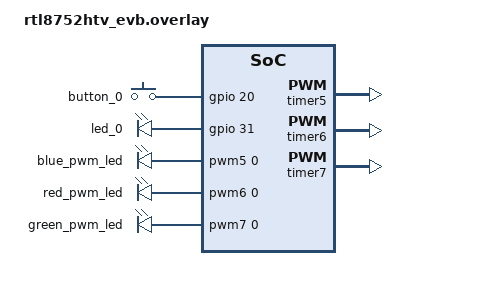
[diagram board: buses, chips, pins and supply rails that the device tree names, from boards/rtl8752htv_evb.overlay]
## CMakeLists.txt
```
# SPDX-License-Identifier: Apache-2.0

cmake_minimum_required(VERSION 3.20.0)
set(QEMU_EXTRA_FLAGS -s)

find_package(Zephyr REQUIRED HINTS $ENV{ZEPHYR_BASE})
project(mesh)

target_sources(app PRIVATE src/main.c)

if (BOARD STREQUAL bbc_microbit)
  target_sources(app PRIVATE src/microbit.c)
else()
  target_sources(app PRIVATE src/board.c)
endif()

if (CONFIG_BUILD_WITH_TFM)
  target_include_directories(app PRIVATE
    $<TARGET_PROPERTY:tfm,TFM_BINARY_DIR>/install/interface/include
  )
endif()

zephyr_code_relocate(FILES ${WEST_TOPDIR}/modules/hal/realtek/bee/drivers/pinmux/src/rtl8752h/rtl876x_pinmux.c LOCATION RAM)
```

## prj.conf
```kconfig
CONFIG_SYSTEM_WORKQUEUE_STACK_SIZE=2048

CONFIG_BT_SETTINGS=y
CONFIG_FLASH=y
CONFIG_FLASH_MAP=y
CONFIG_NVS=y
CONFIG_SETTINGS=y
CONFIG_HWINFO=y

CONFIG_BT=y
CONFIG_BT_L2CAP_TX_BUF_COUNT=5
CONFIG_BT_PERIPHERAL=y
CONFIG_BT_OBSERVER=y
CONFIG_BT_BROADCASTER=y

CONFIG_BT_CTLR_DUP_FILTER_LEN=0
CONFIG_BT_CTLR_LE_ENC=n
CONFIG_BT_CTLR_LE_PING=n
CONFIG_BT_DATA_LEN_UPDATE=n
CONFIG_BT_PHY_UPDATE=n
CONFIG_BT_CTLR_MIN_USED_CHAN=n
CONFIG_BT_CTLR_PRIVACY=n
CONFIG_BT_CTLR_CHAN_SEL_2=n

CONFIG_BT_MESH=y
CONFIG_BT_MESH_MODEL_EXTENSIONS=y
CONFIG_BT_MESH_RELAY=y
CONFIG_BT_MESH_FRIEND=y
CONFIG_BT_MESH_PB_GATT=y
CONFIG_BT_MESH_PB_ADV=y
CONFIG_BT_MESH_GATT_PROXY=y

CONFIG_BT_MESH_SUBNET_COUNT=2
CONFIG_BT_MESH_APP_KEY_COUNT=2
CONFIG_BT_MESH_MODEL_GROUP_COUNT=2
CONFIG_BT_MESH_LABEL_COUNT=3


#2024-10-26

CONFIG_DEBUG_OPTIMIZATIONS=n

CONFIG_LOG=y

# #CONFIG_NEWLIB_LIBC=y


CONFIG_SHELL=y
CONFIG_BT_MESH_SHELL=y
# CONFIG_SHELL_HISTORY=n
CONFIG_SHELL_CMDS_SELECT=n
CONFIG_SHELL_HELP=n
CONFIG_SHELL_TAB_AUTOCOMPLETION=n
CONFIG_SHELL_STACK_SIZE=1500
CONFIG_SHELL_CMD_BUFF_SIZE=32

CONFIG_BT_EXT_ADV=n

CONFIG_BT_BUF_EVT_DISCARDABLE_SIZE=255
CONFIG_BT_BUF_EVT_DISCARDABLE_COUNT=5


CONFIG_BT_MESH_CDB=y

CONFIG_BT_MESH_CRPL=30
CONFIG_BT_MESH_MSG_CACHE_SIZE=30

CONFIG_NVS_LOOKUP_CACHE=y
CONFIG_SETTINGS_NVS_NAME_CACHE=y
CONFIG_SETTINGS_NVS_NAME_CACHE_SIZE=32

# CONFIG_BT_MESH_NETWORK_TRANSMIT_INTERVAL=10
# CONFIG_BT_MESH_NETWORK_TRANSMIT_COUNT=0


CONFIG_BT_MESH_ADV_STACK_SIZE=2500
CONFIG_BT_MESH_SETTINGS_WORKQ_STACK_SIZE=1500
CONFIG_BT_RX_STACK_SIZE=3000



CONFIG_MAIN_STACK_SIZE=1500


CONFIG_BT_MESH_GATT_PROXY_ENABLED=y

CONFIG_BT_MESH_PROV_LOG_LEVEL_DBG=y

# CONFIG_BT_MESH_PROXY_LOG_LEVEL_DBG=y

CONFIG_BT_MESH_TRANS_LOG_LEVEL_DBG=y

CONFIG_LOG_BUFFER_SIZE=1024

CONFIG_SYS_HEAP_RUNTIME_STATS=y


CONFIG_BT_DEVICE_NAME="RTK bee3plus Mesh Light"

CONFIG_BT_MESH_UNPROV_BEACON_INT=10

CONFIG_RTL_BT_ADV_AND_SCAN_USER_PUBLIC_ADDR=1

CONFIG_REALTEK_BT_CONTROLLER_STACK_SIZE=2520

CONFIG_CODE_DATA_RELOCATION=y

CONFIG_SPEED_OPTIMIZATIONS=y

# CONFIG_COMPILER_OPT="-Os"

CONFIG_FLASH_SHELL=n

# CONFIG_BT_HCI_CORE_LOG_LEVEL_DBG=y


# CONFIG_TRACING=y
# CONFIG_TRACING_USER=y



# CONFIG_STDOUT_CONSOLE=y
# enable to use thread names
CONFIG_THREAD_NAME=y
CONFIG_SEGGER_SYSTEMVIEW=y
CONFIG_USE_SEGGER_RTT=y
CONFIG_TRACING=y
CONFIG_TRACING_BACKEND_RAM=y
# enable for post-mortem tracing
CONFIG_SEGGER_SYSVIEW_POST_MORTEM_MODE=n
CONFIG_TRACING_BUFFER_SIZE=4096
```

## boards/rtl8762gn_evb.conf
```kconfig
CONFIG_GPIO=y
CONFIG_PWM=y
CONFIG_LED=y
```

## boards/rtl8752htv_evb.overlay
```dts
/ {

    aliases {
        sw0 = &button_0;
        led0 = &led_0;
		pwm-led = &pwmleds;
    };

    gpio_keys {
		compatible = "gpio-keys";
		button_0: button_0 {
			    gpios = <&gpio 20 GPIO_ACTIVE_HIGH>;
		};
	};

    gpio-led {
		compatible = "gpio-leds";
		led_0: led_0 {
			gpios = <&gpio 31 GPIO_ACTIVE_HIGH>;
		};
	};
	
	

};

&gpio{
    status = "okay";
};


&timer5 {
	status = "okay";
	prescaler = <1>;
	pwm5: pwm5 {
		status = "okay";
		pinctrl-0 = <&pwm5_default>;
		pinctrl-names = "default";
	};
};
&timer6{
	status = "okay";
	prescaler = <1>;
	pwm6: pwm6{
		status = "okay";
		pinctrl-0 = <&pwm6_default>;
		pinctrl-names = "default";
	};
};
&timer7 {
	status = "okay";
	prescaler = <1>;
	pwm7: pwm7 {
		status = "okay";
		pinctrl-0 = <&pwm7_default>;
		pinctrl-names = "default";
	};
};

&pinctrl {
	pwm5_default: pwm5_default {
		group1 {
			psels = <RTL8752H_PSEL(ENPWM0_P, P4_0,DIR_OUT, DRV_LOW, PULL_DOWN)>;
		};
	};
	pwm6_default: pwm6_default {
		group1 {
			psels = <RTL8752H_PSEL(ENPWM0_N, P4_1,DIR_OUT, DRV_LOW, PULL_DOWN)>;
		};
	};
	pwm7_default: pwm7_default {
		group1 {
			psels = <RTL8752H_PSEL(ENPWM1, P4_2,DIR_OUT, DRV_LOW, PULL_DOWN)>;
		};
	};
};
 
/ {
    pwmleds: pwmleds {
        compatible = "pwm-leds";
	   blue_pwm_led: blue_pwm_led {
            pwms = <&pwm5 0 PWM_MSEC(5) 0>;
	    };
	    red_pwm_led: red_pwm_led {
		    pwms = <&pwm6 0 PWM_MSEC(5) 0>;
	    };
	    green_pwm_led: green_pwm_led {
		    pwms = <&pwm7 0 PWM_MSEC(5) 0>;
	    };
	
    };

};
```

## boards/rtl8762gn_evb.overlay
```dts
/ {

    aliases {
        sw0 = &button_0;
        led0 = &led_0;
		pwm-led = &pwmleds;
    };

    gpio_keys {
		compatible = "gpio-keys";
		button_0: button_0 {
			    gpios = <&gpioa 25 GPIO_ACTIVE_HIGH>;
		};
	};

    gpio-led {
		compatible = "gpio-leds";
		led_0: led_0 {
			gpios = <&gpiob 8 GPIO_ACTIVE_HIGH>;
		};
	};
	// pwmleds {
	// 	compatible = "pwm-leds";

	// 	/* NOTE: bridge TIMER0_CH0 (PA8) and LED1 (PC0) */
	// 	pwm_led: pwm_led {
	// 		pwms = <&pwm8 0 0>;

	// 		};
	// };
	

};

&gpioa {
    status = "okay";
};


&gpiob {
    status = "okay";
};

// &timer8 {
// 	status = "okay";
// 	prescaler = <1>;
// 	pwm8: pwm {
// 			status = "okay";
// 			pinctrl-0 = <&pwm8_default>;
// 			pinctrl-names = "default";
// 	};
//  };

// &pinctrl {
// 	pwm8_default: pwm8_default {
// 			group1 {
// 					psels = <RTL87X2G_PSEL(ENPWM0_P, P4_0,DIR_OUT, DRV_LOW, PULL_DOWN)>;
// 			};
//     };
// };

&timer8 {
	status = "okay";
	prescaler = <1>;
	pwm8: pwm8 {
		status = "okay";
		pinctrl-0 = <&pwm8_default>;
		pinctrl-names = "default";
	};
};
&timer9 {
	status = "okay";
	prescaler = <1>;
	pwm9: pwm9{
		status = "okay";
		pinctrl-0 = <&pwm9_default>;
		pinctrl-names = "default";
	};
};
&timer10 {
	status = "okay";
	prescaler = <1>;
	pwm10: pwm10 {
		status = "okay";
		pinctrl-0 = <&pwm10_default>;
		pinctrl-names = "default";
	};
};

&pinctrl {
	pwm8_default: pwm8_default {
		group1 {
			psels = <RTL87X2G_PSEL(ENPWM0_P, P4_0,DIR_OUT, DRV_LOW, PULL_DOWN)>;
		};
	};
	pwm9_default: pwm9_default {
		group1 {
			psels = <RTL87X2G_PSEL(ENPWM1_P, P4_1,DIR_OUT, DRV_LOW, PULL_DOWN)>;
		};
	};
	pwm10_default: pwm10_default {
		group1 {
			psels = <RTL87X2G_PSEL(ENPWM2_P, P4_2,DIR_OUT, DRV_LOW, PULL_DOWN)>;
		};
	};
};
 
/ {
    pwmleds: pwmleds {
        compatible = "pwm-leds";
	   blue_pwm_led: blue_pwm_led {
            pwms = <&pwm8 0 PWM_MSEC(5) 0>;
	    };
	    red_pwm_led: red_pwm_led {
		    pwms = <&pwm9 0 PWM_MSEC(5) 0>;
	    };
	    green_pwm_led: green_pwm_led {
		    pwms = <&pwm10 0 PWM_MSEC(5) 0>;
	    };
	
    };

};
```

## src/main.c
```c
/* main.c - Application main entry point */

/*
 * Copyright (c) 2017 Intel Corporation
 *
 * SPDX-License-Identifier: Apache-2.0
 */

#include <zephyr/sys/printk.h>

#include <zephyr/settings/settings.h>
#include <zephyr/devicetree.h>
#include <zephyr/device.h>
#include <zephyr/drivers/gpio.h>
#include <zephyr/drivers/hwinfo.h>
#include <zephyr/sys/byteorder.h>

#include <zephyr/bluetooth/bluetooth.h>
#include <zephyr/bluetooth/mesh.h>

#include "board.h"

#include "zephyr/kernel.h"
extern bool os_mem_peek_zephyr(uint8_t ram_type, size_t *p_size);

#include <zephyr\sys\sys_heap.h>
extern struct sys_heap z_malloc_heap;
void log_isr_stack_usage(void);


#define OP_ONOFF_GET       BT_MESH_MODEL_OP_2(0x82, 0x01)
#define OP_ONOFF_SET       BT_MESH_MODEL_OP_2(0x82, 0x02)
#define OP_ONOFF_SET_UNACK BT_MESH_MODEL_OP_2(0x82, 0x03)
#define OP_ONOFF_STATUS    BT_MESH_MODEL_OP_2(0x82, 0x04)

static void attention_on(struct bt_mesh_model *mod)
{
	board_led_set(true);
}

static void attention_off(struct bt_mesh_model *mod)
{
	board_led_set(false);
}

static const struct bt_mesh_health_srv_cb health_cb = {
	.attn_on = attention_on,
	.attn_off = attention_off,
};

static struct bt_mesh_health_srv health_srv = {
	.cb = &health_cb,
};

BT_MESH_HEALTH_PUB_DEFINE(health_pub, 0);

static const char *const onoff_str[] = { "off", "on" };

static struct {
	bool val;
	uint8_t tid;
	uint16_t src;
	uint32_t transition_time;
	struct k_work_delayable work;
} onoff;

/* OnOff messages' transition time and remaining time fields are encoded as an
 * 8 bit value with a 6 bit step field and a 2 bit resolution field.
 * The resolution field maps to:
 * 0: 100 ms
 * 1: 1 s
 * 2: 10 s
 * 3: 20 min
 */
static const uint32_t time_res[] = {
	100,
	MSEC_PER_SEC,
	10 * MSEC_PER_SEC,
	10 * 60 * MSEC_PER_SEC,
};

static inline int32_t model_time_decode(uint8_t val)
{
	uint8_t resolution = (val >> 6) & BIT_MASK(2);
	uint8_t steps = val & BIT_MASK(6);

	if (steps == 0x3f) {
		return SYS_FOREVER_MS;
	}

	return steps * time_res[resolution];
}

static inline uint8_t model_time_encode(int32_t ms)
{
	if (ms == SYS_FOREVER_MS) {
		return 0x3f;
	}

	for (int i = 0; i < ARRAY_SIZE(time_res); i++) {
		if (ms >= BIT_MASK(6) * time_res[i]) {
			continue;
		}

		uint8_t steps = DIV_ROUND_UP(ms, time_res[i]);

		return steps | (i << 6);
	}

	return 0x3f;
}

static int onoff_status_send(struct bt_mesh_model *model,
			     struct bt_mesh_msg_ctx *ctx)
{
	uint32_t remaining;

	BT_MESH_MODEL_BUF_DEFINE(buf, OP_ONOFF_STATUS, 3);
	bt_mesh_model_msg_init(&buf, OP_ONOFF_STATUS);

	remaining = k_ticks_to_ms_floor32(
			    k_work_delayable_remaining_get(&onoff.work)) +
		    onoff.transition_time;

	/* Check using remaining time instead of "work pending" to make the
	 * onoff status send the right value on instant transitions. As the
	 * work item is executed in a lower priority than the mesh message
	 * handler, the work will be pending even on instant transitions.
	 */
	if (remaining) {
		net_buf_simple_add_u8(&buf, !onoff.val);
		net_buf_simple_add_u8(&buf, onoff.val);
		net_buf_simple_add_u8(&buf, model_time_encode(remaining));
	} else {
		net_buf_simple_add_u8(&buf, onoff.val);
	}

	return bt_mesh_model_send(model, ctx, &buf, NULL, NULL);
}

static void onoff_timeout(struct k_work *work)
{
	if (onoff.transition_time) {
		/* Start transition.
		 *
		 * The LED should be on as long as the transition is in
		 * progress, regardless of the target value, according to the
		 * Bluetooth Mesh Model specification, section 3.1.1.
		 */
		board_led_set(true);

		k_work_reschedule(&onoff.work, K_MSEC(onoff.transition_time));
		onoff.transition_time = 0;
		return;
	}

	board_led_set(onoff.val);
}

/* Generic OnOff Server message handlers */

static int gen_onoff_get(struct bt_mesh_model *model,
			 struct bt_mesh_msg_ctx *ctx,
			 struct net_buf_simple *buf)
{
	onoff_status_send(model, ctx);
	return 0;
}

static int gen_onoff_set_unack(struct bt_mesh_model *model,
			       struct bt_mesh_msg_ctx *ctx,
			       struct net_buf_simple *buf)
{
	uint8_t val = net_buf_simple_pull_u8(buf);
	uint8_t tid = net_buf_simple_pull_u8(buf);
	int32_t trans = 0;
	int32_t delay = 0;

	if (buf->len) {
		trans = model_time_decode(net_buf_simple_pull_u8(buf));
		delay = net_buf_simple_pull_u8(buf) * 5;
	}

	/* Only perform change if the message wasn't a duplicate and the
	 * value is different.
	 */
	if (tid == onoff.tid && ctx->addr == onoff.src) {
		/* Duplicate */
		return 0;
	}

	if (val == onoff.val) {
		/* No change */
		return 0;
	}

	printk("set: %s delay: %d ms time: %d ms\n", onoff_str[val], delay,
	       trans);

	onoff.tid = tid;
	onoff.src = ctx->addr;
	onoff.val = val;
	onoff.transition_time = trans;

	/* Schedule the next action to happen on the delay, and keep
	 * transition time stored, so it can be applied in the timeout.
	 */
	k_work_reschedule(&onoff.work, K_MSEC(delay));

	return 0;
}

static int gen_onoff_set(struct bt_mesh_model *model,
			 struct bt_mesh_msg_ctx *ctx,
			 struct net_buf_simple *buf)
{
	(void)gen_onoff_set_unack(model, ctx, buf);
	onoff_status_send(model, ctx);

	return 0;
}

static const struct bt_mesh_model_op gen_onoff_srv_op[] = {
	{ OP_ONOFF_GET,       BT_MESH_LEN_EXACT(0), gen_onoff_get },
	{ OP_ONOFF_SET,       BT_MESH_LEN_MIN(2),   gen_onoff_set },
	{ OP_ONOFF_SET_UNACK, BT_MESH_LEN_MIN(2),   gen_onoff_set_unack },
	BT_MESH_MODEL_OP_END,
};

/* Generic OnOff Client */

static int gen_onoff_status(struct bt_mesh_model *model,
			    struct bt_mesh_msg_ctx *ctx,
			    struct net_buf_simple *buf)
{
	uint8_t present = net_buf_simple_pull_u8(buf);

	if (buf->len) {
		uint8_t target = net_buf_simple_pull_u8(buf);
		int32_t remaining_time =
			model_time_decode(net_buf_simple_pull_u8(buf));

		printk("OnOff status: %s -> %s: (%d ms)\n", onoff_str[present],
		       onoff_str[target], remaining_time);
		return 0;
	}

	printk("OnOff status: %s\n", onoff_str[present]);

	return 0;
}

static const struct bt_mesh_model_op gen_onoff_cli_op[] = {
	{OP_ONOFF_STATUS, BT_MESH_LEN_MIN(1), gen_onoff_status},
	BT_MESH_MODEL_OP_END,
};

/* This application only needs one element to contain its models */
static struct bt_mesh_model models[] = {
	BT_MESH_MODEL_CFG_SRV,
	BT_MESH_MODEL_HEALTH_SRV(&health_srv, &health_pub),
	BT_MESH_MODEL(BT_MESH_MODEL_ID_GEN_ONOFF_SRV, gen_onoff_srv_op, NULL,
		      NULL),
	BT_MESH_MODEL(BT_MESH_MODEL_ID_GEN_ONOFF_CLI, gen_onoff_cli_op, NULL,
		      NULL),
};

static struct bt_mesh_elem elements[] = {
	BT_MESH_ELEM(0, models, BT_MESH_MODEL_NONE),
};

static const struct bt_mesh_comp comp = {
	.cid = BT_COMP_ID_LF,
	.elem = elements,
	.elem_count = ARRAY_SIZE(elements),
};

/* Provisioning */

static int output_number(bt_mesh_output_action_t action, uint32_t number)
{
	printk("OOB Number: %u\n", number);

	board_output_number(action, number);

	return 0;
}

static void prov_complete(uint16_t net_idx, uint16_t addr)
{
	board_prov_complete();
}

static void prov_reset(void)
{
	bt_mesh_prov_enable(BT_MESH_PROV_ADV | BT_MESH_PROV_GATT);
}

static uint8_t dev_uuid[16];

static const struct bt_mesh_prov prov = {
	.uuid = dev_uuid,
	.output_size = 4,
	.output_actions = BT_MESH_DISPLAY_NUMBER,
	.output_number = output_number,
	.complete = prov_complete,
	.reset = prov_reset,
};

/** Send an OnOff Set message from the Generic OnOff Client to all nodes. */
//static int gen_onoff_send(bool val)
static int gen_onoff_send(bool val,uint16_t dst)
{
	struct bt_mesh_msg_ctx ctx = {
		.app_idx = models[3].keys[0], /* Use the bound key */
		//.addr = BT_MESH_ADDR_ALL_NODES,
		.addr = dst,
		.send_ttl = BT_MESH_TTL_DEFAULT,
	};
	static uint8_t tid;

	if (ctx.app_idx == BT_MESH_KEY_UNUSED) {
		printk("The Generic OnOff Client must be bound to a key before "
		       "sending.\n");
		return -ENOENT;
	}

	BT_MESH_MODEL_BUF_DEFINE(buf, OP_ONOFF_SET_UNACK, 2);
	bt_mesh_model_msg_init(&buf, OP_ONOFF_SET_UNACK);
	net_buf_simple_add_u8(&buf, val);
	net_buf_simple_add_u8(&buf, tid++);

	printk("Sending OnOff Set: %s\n", onoff_str[val]);

	return bt_mesh_model_send(&models[3], &ctx, &buf, NULL, NULL);
}

static void button_pressed(struct k_work *work)
{
	if (bt_mesh_is_provisioned()) {
		//(void)gen_onoff_send(!onoff.val);
		(void)gen_onoff_send(!onoff.val,0);
		return;
	}

	/* Self-provision with an arbitrary address.
	 *
	 * NOTE: This should never be done in a production environment.
	 *       Addresses should be assigned by a provisioner, and keys should
	 *       be generated from true random numbers. It is done in this
	 *       sample to allow testing without a provisioner.
	 */
	static uint8_t net_key[16];
	static uint8_t dev_key[16];
	static uint8_t app_key[16];
	uint16_t addr;
	int err;

	if (IS_ENABLED(CONFIG_HWINFO)) {
		addr = sys_get_le16(&dev_uuid[0]) & BIT_MASK(15);
	} else {
		addr = k_uptime_get_32() & BIT_MASK(15);
	}

	printk("Self-provisioning with address 0x%04x\n", addr);
	err = bt_mesh_provision(net_key, 0, 0, 0, addr, dev_key);
	if (err) {
		printk("Provisioning failed (err: %d)\n", err);
		return;
	}

	/* Add an application key to both Generic OnOff models: */
	err = bt_mesh_app_key_add(0, 0, app_key);
	if (err) {
		printk("App key add failed (err: %d)\n", err);
		return;
	}

	/* Models must be bound to an app key to send and receive messages with
	 * it:
	 */
	models[2].keys[0] = 0;
	models[3].keys[0] = 0;

	printk("Provisioned and configured!\n");
}


char addr_s[BT_ADDR_LE_STR_LEN];//2024-10-29

/*********************************************************** */
#define NUM_ENTRIES 5 // 二维数组的大小
// 定义存储 PC、LR 和顺序标记的结构
typedef struct {
    uint32_t pc;
    uint32_t lr;
    uint32_t msp;
    uint32_t psp;
    uint32_t sequence; // 顺序标记
} cpu_state_t;

volatile cpu_state_t cpu_state_array[NUM_ENTRIES];
volatile uint32_t count = 0; // 存储位置计数器
volatile uint32_t global_sequence = 0; // 全局顺序计数器

#include "trace.h"
void save_cpu_state(uint32_t pc, uint32_t lr, uint32_t msp, uint32_t psp) {
    // 更新 cpu_state_array
    cpu_state_array[count].pc = pc;
    cpu_state_array[count].lr = lr;
    cpu_state_array[count].msp = msp;
    cpu_state_array[count].psp = psp;
    cpu_state_array[count].sequence = global_sequence++;

    // 更新计数器，使用取模操作实现循环存储
    count = (count + 1) % NUM_ENTRIES;
}
void print_cpu_state(void) {


    for (int i = 0; i < NUM_ENTRIES; i++)
    {
       DBG_DIRECT("Entry %d: PC = 0x%08X, LR = 0x%08X, msp = 0x%08X, psp = 0x%08X,Seq = %u\n", \
               i, cpu_state_array[i].pc, cpu_state_array[i].lr,  \
                  cpu_state_array[i].msp, cpu_state_array[i].psp, cpu_state_array[i].sequence);
               
    }	
    
}

/******************************************************************************* */

#include "trace.h"
void sys_trace_thread_switched_out_user(void) {

    // k_tid_t new_thread =k_current_get();
    // DBG_DIRECT("thread out: %s\n", new_thread->name ? new_thread->name : "unknown");


}

/******************************************************************************* */

#include <zephyr/kernel.h>
#include <zephyr/sys/printk.h>
#include <zephyr/logging/log.h>
 
#define WATER_LEVEL_KERNEL_STACK_SYM z_interrupt_stacks
#define WATER_LEVEL_KERNEL_STACK_NAME STRINGIFY(WATER_LEVEL_KERNEL_STACK_SYM)
K_KERNEL_STACK_DECLARE(WATER_LEVEL_KERNEL_STACK_SYM, CONFIG_ISR_STACK_SIZE);
void log_isr_stack_usage(void)
{
    uintptr_t stack_start = (uintptr_t) WATER_LEVEL_KERNEL_STACK_SYM;
    size_t stack_size = CONFIG_ISR_STACK_SIZE;
    uintptr_t stack_end = stack_start + stack_size;
 
    /* Find the first unused stack location */
    uint8_t *p = (uint8_t *)stack_start;
    while ((p < (uint8_t *)stack_end) && (*p == 0xaa)) {
        p++;
    }
    size_t used = stack_end - (uintptr_t)p;
 
    printk(WATER_LEVEL_KERNEL_STACK_NAME" size: %zu, used: %zu, available: %zu \n",
            stack_size, used, stack_size - used);
}


static void bt_ready(int err)
{
	if (err) {
		printk("Bluetooth init failed (err %d)\n", err);
		return;
	}

	printk("Bluetooth initialized\n");

	err = bt_mesh_init(&prov, &comp);
	if (err) {
		printk("Initializing mesh failed (err %d)\n", err);
		return;
	}

	if (IS_ENABLED(CONFIG_SETTINGS)) {
		settings_load();
	}

    /*get mac address for uuid 2024-10-29*/
    bt_addr_le_t device_addr;
    size_t count = 1;
    bt_id_get(&device_addr, &count);
    memcpy(dev_uuid,device_addr.a.val,6);
    bt_addr_le_to_str(&device_addr, addr_s, sizeof(addr_s));
    printk("advertising addr as %s\n", addr_s);


	/* This will be a no-op if settings_load() loaded provisioning info */
	bt_mesh_prov_enable(BT_MESH_PROV_ADV | BT_MESH_PROV_GATT);

//    size_t p_size;
//    os_mem_peek_zephyr(0, &p_size);
//    os_mem_peek_zephyr(1, &p_size);
//    struct sys_memory_stats stats;
// 	// low level接口
// 	sys_heap_runtime_stats_get(&z_malloc_heap, &stats);
// 	log_isr_stack_usage();
// 	printk("stdlib malloc heap: heap size: %d, allocated %d, free %d, max allocated %d\n", CONFIG_COMMON_LIBC_MALLOC_ARENA_SIZE, stats.allocated_bytes, stats.free_bytes, stats.max_allocated_bytes);
// 	printk("Mesh initialized\n");
}

/*在main.c的static void bt_ready(int err)之后,main()之前，添加如下code*/



/*
 sw timer
*/
#if defined(CONFIG_BT_MESH_SHELL)

#include <zephyr/shell/shell.h>
#include <stdio.h>
#include "mesh/access.h"
#include "mesh/net.h"
#include "common/bt_str.h"
#include "mesh/shell/utils.h"
#include <zephyr/bluetooth/mesh/shell.h>

struct app_key_val {
    uint16_t net_idx;
    bool updated;
    struct bt_mesh_key val[2];
} __packed;

char net_key_index[8];
void read_app_key(uint16_t app_idx,struct app_key_val *app_key);
struct app_key_val read_appkey;
K_MSGQ_DEFINE(swtimer_msgq, 32, 10, 4);
typedef struct
{
    uint8_t buf;
    uint32_t len;
} T_RTL_MESH_SEND_BUF;
T_RTL_MESH_SEND_BUF mesh_send_buf;

uint16_t mesh_msg_send_count=0;
uint16_t mesh_msg_send_max_count=0;

void timer_expired_handler(struct k_timer *timer);
K_TIMER_DEFINE(test_timer, timer_expired_handler, NULL);

uint16_t send_dst = 0;


void heap_test_timer_expired_handler(struct k_timer *timer);
K_TIMER_DEFINE(heap_test_timer, heap_test_timer_expired_handler, NULL);

uint16_t heap_mesh_msg_send_count=0;
uint16_t heap_msg_send_max_count=0;

static int cmd_heap_test_start(const struct shell *sh, size_t argc,
			      char **argv, uint32_t period)
{
	ARG_UNUSED(argv);
	k_timer_start(&heap_test_timer, K_MSEC(period), K_MSEC(period));//K_NO_WAIT);

	return 0;
}

void heap_test_timer_expired_handler(struct k_timer *timer)
{
    //LOG_INF("Timer expired");
	print_cpu_state();
    if(heap_msg_send_max_count!=0)
    {
       heap_mesh_msg_send_count++;
       if(heap_mesh_msg_send_count<heap_msg_send_max_count)
       { 
         mesh_send_buf.buf =2;
         k_msgq_put(&swtimer_msgq, &mesh_send_buf, K_NO_WAIT);
       }
       else
       {
        heap_mesh_msg_send_count=0;
        k_timer_stop(&heap_test_timer);
       }
    }
    else
    {
         mesh_send_buf.buf =2;
         k_msgq_put(&swtimer_msgq, &mesh_send_buf, K_NO_WAIT); 
    }
    
}


static int cmd_heap_test_start_demo(const struct shell *sh, size_t argc,
				   char **argv)
{

	int err = 0;
	uint16_t sw_period =200;
    uint16_t max_count=0;
	sw_period = shell_strtoul(argv[1], 0, &err);
	max_count= shell_strtoul(argv[2], 0, &err);
    heap_msg_send_max_count=max_count;
	shell_print(sh, "argv[0]=%s,argv[1]=%s,argv[2]=%s,sw_period=%d,max_count=%d,",argv[0],argv[1],argv[1],sw_period,\
	                 max_count);
	return cmd_heap_test_start(sh, argc, argv, sw_period);
}



void timer_expired_handler(struct k_timer *timer)
{
    //LOG_INF("Timer expired");
    if(mesh_msg_send_max_count!=0)
    {
       mesh_msg_send_count++;
       if(mesh_msg_send_count<mesh_msg_send_max_count)
       { 
         mesh_send_buf.buf =1;
         k_msgq_put(&swtimer_msgq, &mesh_send_buf, K_NO_WAIT);
       }
       else
       {
        mesh_msg_send_count=0;
        k_timer_stop(&test_timer);
       }
    }
    else
    {
         mesh_send_buf.buf =1;
         k_msgq_put(&swtimer_msgq, &mesh_send_buf, K_NO_WAIT); 
    }
    
}


static int cmd_mesh_test_start(const struct shell *sh, size_t argc,
			      char **argv, uint32_t period)
{
	ARG_UNUSED(argv);
	k_timer_start(&test_timer, K_MSEC(period), K_MSEC(period));//K_NO_WAIT);

	return 0;
}

static int cmd_mesh_test_start_demo(const struct shell *sh, size_t argc,
				   char **argv)
{
	//char sw_period=20;
	//char max_count=0;
	//sscanf(argv[1], "%hhd", &sw_period);
	//sscanf(argv[2], "%hhd", &max_count);
	int err = 0;
	uint16_t sw_period =200;
    uint16_t max_count=0;
	send_dst = shell_strtoul(argv[1], 0, &err);
	sw_period= shell_strtoul(argv[2], 0, &err);
	max_count= shell_strtoul(argv[3], 0, &err);
	mesh_msg_send_max_count = max_count;
	shell_print(sh, "argv[0]=%s,argv[1]=%s,dst=%d,argv[2]=%s,sw_period=%d,argv[3]=%s,max_count=%d,",argv[0],argv[1],send_dst,\
	                 argv[2],sw_period,argv[3],mesh_msg_send_max_count);
	return cmd_mesh_test_start(sh, argc, argv, sw_period);
}




int mesh_key_info(const struct shell *sh, size_t argc, char **argv)
{
    int err = 0;
    struct bt_mesh_subnet *sub;
    struct bt_mesh_elem *elem;
    //shell_print(sh, "rtl8762gn_evb");
    sub = bt_mesh_subnet_get(0);
    shell_print(sh, "argv[0]=%s",argv[0]);
    //sscanf(argv[1], "%hhd", net_key_index);
    net_key_index[0]=shell_strtoul(argv[1], 0, &err);
    read_app_key(0,&read_appkey);
    //unsigned int net_key_index =hex_string_to_int(argv[1]);
    shell_print(sh, "argv[1]=%s",argv[1]);
    shell_print(sh, "net_key_index[0]=%d",net_key_index[0]);
    shell_print(sh,"NetKey %s", bt_hex(&sub->keys[0].net, sizeof(struct bt_mesh_key)));
    shell_print(sh,"devKey %s", bt_hex(&bt_mesh.dev_key, sizeof(struct bt_mesh_key)));
    shell_print(sh,"appKey %s", bt_hex(&read_appkey.val[0], sizeof(struct bt_mesh_key)));
    shell_print(sh, "IV Index is 0x%08x", bt_mesh.iv_index);
    uint16_t ele_addr=bt_mesh_primary_addr();
    shell_print(sh, "primary_addr=%x",ele_addr);
    elem = bt_mesh_elem_find(ele_addr); 
    for (uint16_t i = 0U; i < comp.elem[0].model_count; i++) {
          shell_print(sh,"model_id(elem 0)=%x", comp.elem[0].models[i].id);
           if(ele_addr !=0) {
                for (uint8_t j = 0; j < elem->models[i].keys_cnt; j++) {
                   if (elem->models[i].keys[j] != BT_MESH_KEY_UNUSED) {
                      shell_print(sh,"appkeys_bind_idx =%d",elem->models[i].keys[j]);
                }
            }
        }
    }
    return 0;
}

SHELL_STATIC_SUBCMD_SET_CREATE(mesh_user_cmds,     
       SHELL_CMD_ARG(heap-test, NULL, "[<period:ms> count:(0=>unlimited)>]", cmd_heap_test_start_demo, 1,2), 
       SHELL_CMD_ARG(key-show, NULL, "netkey index", mesh_key_info, 1, 1),
       SHELL_CMD_ARG(mesh-send, NULL, "[<Dst:(0=>0xffff)> <period:ms> <count:(0=>unlimited)>]", cmd_mesh_test_start_demo, 1, 3),
       #if CONFIG_PM
       #endif
     SHELL_SUBCMD_SET_END
    );
 SHELL_CMD_ARG_REGISTER(mesh_user, &mesh_user_cmds, "mesh user define commands", NULL, 1, 1);


#endif




int main(void)
{
	static struct k_work button_work;
	int err = -1;

	printk("Initializing...\n");

	if (IS_ENABLED(CONFIG_HWINFO)) {
		err = hwinfo_get_device_id(dev_uuid, sizeof(dev_uuid));
	}

	if (err < 0) {
		dev_uuid[0] = 0xdd;
		dev_uuid[1] = 0xdd;
	}

	k_work_init(&button_work, button_pressed);

	err = board_init(&button_work);
	if (err) {
		printk("Board init failed (err: %d)\n", err);
		return 0;
	}

	k_work_init_delayable(&onoff.work, onoff_timeout);

	/* Initialize the Bluetooth Subsystem */
	err = bt_enable(bt_ready);
	if (err) {
		printk("Bluetooth init failed (err %d)\n", err);
	}

    #if defined(CONFIG_BT_MESH_SHELL)
    /*
     2024-10-29 lq_liu
     get info from my_fifo to send mesh message by gen_onoff_send 
     */
     //T_RTL_MESH_SEND_BUF *rx_data;
     while (1) {
    
        k_msgq_get(&swtimer_msgq, &mesh_send_buf, K_FOREVER);
        if(mesh_send_buf.buf==1)
        {
           mesh_send_buf.buf=0;
           //lq_threads_test(lq_sh);
           onoff.val=!onoff.val;
           err=gen_onoff_send(onoff.val,send_dst);
           if(err!=0)
           {
              k_timer_stop(&test_timer);
              printk("err=%d gen_onoff_send\n",err);
           }
            //rx_data->buf=0;
            
        }
		else if(mesh_send_buf.buf==2)
		{
            mesh_send_buf.buf=0;
		//    size_t p_size;
        //    os_mem_peek_zephyr(0, &p_size);
		//    os_mem_peek_zephyr(1, &p_size);
		//    struct sys_memory_stats stats;
		// 	// low level接口
		// 	sys_heap_runtime_stats_get(&z_malloc_heap, &stats);
		// 	log_isr_stack_usage();
		// 	printk("stdlib malloc heap: heap size: %d, allocated %d, free %d, max allocated %d\n", CONFIG_COMMON_LIBC_MALLOC_ARENA_SIZE, stats.allocated_bytes, stats.free_bytes, stats.max_allocated_bytes);
        //     print_cpu_state();
		 if(heap_mesh_msg_send_count==9)
		 {
			DBG_DIRECT("test");
			while (1)
			{
				/* code */
			}
			
		 }
		}
        k_yield();
     }
    #endif

	return 0;
}
```

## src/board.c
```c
/* board.c - Generic HW interaction hooks */

/*
 * Copyright (c) 2021 Nordic Semiconductor
 *
 * SPDX-License-Identifier: Apache-2.0
 */

#include <zephyr/bluetooth/mesh.h>
#include <zephyr/drivers/gpio.h>
#include "board.h"

/* Locate led0 as alias or label by that name */
#if DT_NODE_EXISTS(DT_ALIAS(led0))
#define LED0 DT_ALIAS(led0)
#elif DT_NODE_EXISTS(DT_NODELABEL(led0))
#define LED0 DT_NODELABEL(led0)
#else
#define LED0 DT_INVALID_NODE
#endif

/* Locate button0 as alias or label by sw0 or button0 */
#if DT_NODE_EXISTS(DT_ALIAS(sw0))
#define BUTTON0 DT_ALIAS(sw0)
#elif DT_NODE_EXISTS(DT_ALIAS(button0))
#define BUTTON0 DT_ALIAS(button0)
#elif DT_NODE_EXISTS(DT_NODELABEL(sw0))
#define BUTTON0 DT_NODELABEL(sw0)
#elif DT_NODE_EXISTS(DT_NODELABEL(button0))
#define BUTTON0 DT_NODELABEL(button0)
#else
#define BUTTON0 DT_INVALID_NODE
#endif

#if DT_NODE_EXISTS(LED0)
#define LED0_DEV DT_PHANDLE(LED0, gpios)
#define LED0_PIN DT_PHA(LED0, gpios, pin)
#define LED0_FLAGS DT_PHA(LED0, gpios, flags)

static const struct device *const led_dev = DEVICE_DT_GET(LED0_DEV);
#endif /* LED0 */

#if DT_NODE_EXISTS(BUTTON0)
#define BUTTON0_DEV DT_PHANDLE(BUTTON0, gpios)
#define BUTTON0_PIN DT_PHA(BUTTON0, gpios, pin)
#define BUTTON0_FLAGS DT_PHA(BUTTON0, gpios, flags)

static const struct device *const button_dev = DEVICE_DT_GET(BUTTON0_DEV);
static struct k_work *button_work;

static void button_cb(const struct device *port, struct gpio_callback *cb,
		      gpio_port_pins_t pins)
{
	k_work_submit(button_work);
}
#endif /* BUTTON0 */

static int led_init(void)
{
#if DT_NODE_EXISTS(LED0)
	int err;

	if (!device_is_ready(led_dev)) {
		return -ENODEV;
	}

	// err = gpio_pin_configure(led_dev, LED0_PIN,
	// 			 LED0_FLAGS | GPIO_OUTPUT_INACTIVE);
	err = gpio_pin_configure(led_dev, LED0_PIN, LED0_FLAGS | GPIO_OUTPUT_ACTIVE | GPIO_PULL_UP);
	if (err) {
		return err;
	}
#else
	printk("WARNING: LEDs not supported on this board.\n");
#endif

	return 0;
}

static int button_init(struct k_work *button_pressed)
{
#if DT_NODE_EXISTS(BUTTON0)
	int err;

	// err = gpio_pin_configure(button_dev, BUTTON0_PIN,
	// 			 BUTTON0_FLAGS | GPIO_INPUT);
	err = gpio_pin_configure(button_dev, BUTTON0_PIN, BUTTON0_FLAGS | GPIO_INPUT | GPIO_PULL_DOWN);
	if (err) {
		return err;
	}

	static struct gpio_callback gpio_cb;

	err = gpio_pin_interrupt_configure(button_dev, BUTTON0_PIN,
					   GPIO_INT_EDGE_TO_ACTIVE);
	if (err) {
		return err;
	}

	button_work = button_pressed;

	gpio_init_callback(&gpio_cb, button_cb, BIT(BUTTON0_PIN));
	gpio_add_callback(button_dev, &gpio_cb);
#else
	printk("WARNING: Buttons not supported on this board.\n");
#endif

	return 0;
}

int board_init(struct k_work *button_pressed)
{
	int err;

	err = led_init();
	if (err) {
		return err;
	}

	return button_init(button_pressed);
}

void board_led_set(bool val)
{
#if DT_NODE_EXISTS(LED0)
	gpio_pin_set(led_dev, LED0_PIN, val);
#endif
}

void board_output_number(bt_mesh_output_action_t action, uint32_t number)
{
}

void board_prov_complete(void)
{
}
```

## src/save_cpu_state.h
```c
#ifndef SAVE_CPU_STATE_H
#define SAVE_CPU_STATE_H

#include <zephyr/kernel.h>

#define NUM_ENTRIES 10 // 二维数组的大小

typedef struct {
    uint32_t pc;
    uint32_t lr;
	uint32_t msp;
    uint32_t psp;
    uint32_t sequence; // 顺序标记
} cpu_state_t;



extern cpu_state_t cpu_state_array[NUM_ENTRIES];
extern volatile uint32_t count;// 存储位置计数器
extern uint32_t global_sequence;// 全局顺序计数器

// inline void save_cpu_state(void)
// {
//     uint32_t pc, lr, msp, psp;

//     // 获取主堆栈指针 (MSP)
//     __asm volatile ("MRS %0, MSP" : "=r" (msp));
    
//     // 获取进程堆栈指针 (PSP)
//     __asm volatile ("MRS %0, PSP" : "=r" (psp));

//     // 获取 PC 和 LR
//     __asm volatile ("MOV %0, PC" : "=r" (pc));
//     __asm volatile ("MOV %0, LR" : "=r" (lr));

//     // 更新 cpu_state_array
//     cpu_state_array[count].pc = pc;
//     cpu_state_array[count].lr = lr;
//     cpu_state_array[count].msp = msp;
//     cpu_state_array[count].psp = psp;
//     cpu_state_array[count].sequence = global_sequence++;

//     // 更新计数器，使用取模操作实现循环存储
//     count = (count + 1) % NUM_ENTRIES;
// }

// void save_cpu_state(uint32_t pc, uint32_t lr, uint32_t msp, uint32_t psp) {
//     // 更新 cpu_state_array
//     cpu_state_array[count].pc = pc;
//     cpu_state_array[count].lr = lr;
//     cpu_state_array[count].msp = msp;
//     cpu_state_array[count].psp = psp;
//     cpu_state_array[count].sequence = global_sequence++;

//     // 更新计数器，使用取模操作实现循环存储
//     count = (count + 1) % NUM_ENTRIES;
// }

#endif // SAVE_CPU_STATE_H
```
